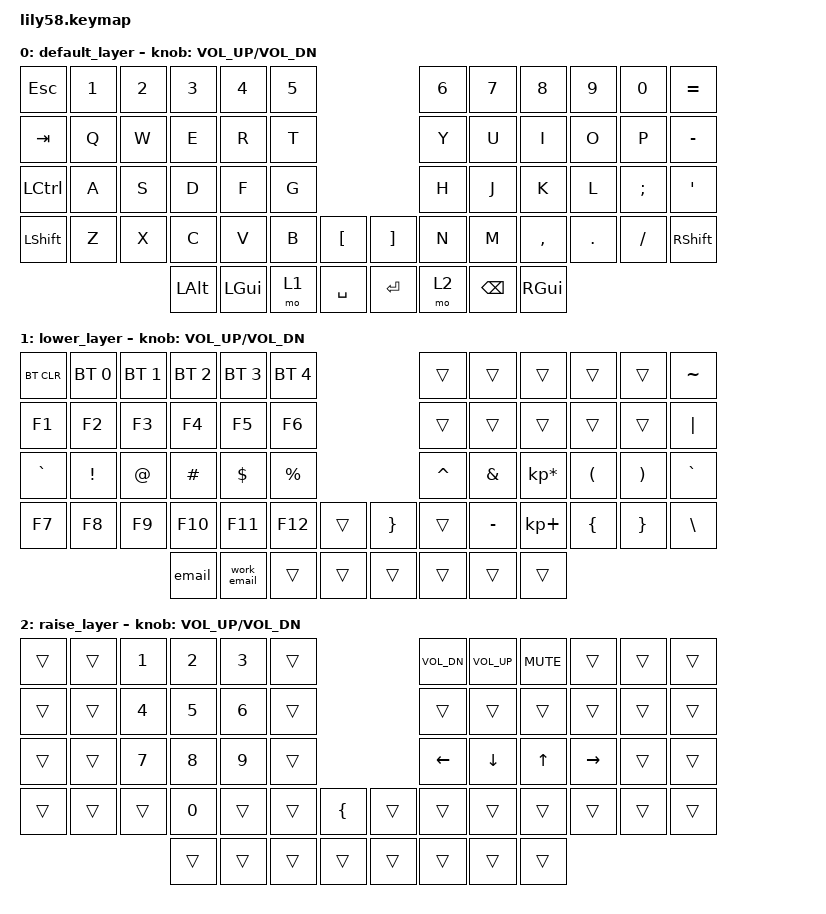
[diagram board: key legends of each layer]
/*
 * Copyright (c) 2020 The ZMK Contributors
 *
 * SPDX-License-Identifier: MIT
 */

#include <behaviors.dtsi>
#include <dt-bindings/zmk/keys.h>
#include <dt-bindings/zmk/bt.h>
#include <dt-bindings/zmk/ext_power.h>

/  { 
  macros {
    work_email: work_email {
      compatible = "zmk,behavior-macro";
      label = "mcguire-lestera@aetna.com";
      #binding-cells = <0>;
      wait-ms = <30>;
      tap-ms = <30>;
      bindings = <&kp M &kp C &kp G &kp U &kp I &kp R &kp E &kp MINUS &kp L &kp E &kp S &kp T &kp E &kp R &kp A &kp AT_SIGN &kp A &kp E &kp T &kp N &kp A &kp DOT &kp C &kp O &kp M>;
    };

    email: email {
      compatible = "zmk,behavior-macro";
      label = "aidanmcguire211@gmail.com";
      #binding-cells = <0>;
      wait-ms = <30>;
      tap-ms = <30>;
      bindings = <&kp A &kp I &kp D &kp A &kp N &kp M &kp C &kp G &kp U &kp I &kp R &kp E &kp KP_N2 &kp KP_N1 &kp KP_N1 &kp AT_SIGN &kp G &kp M &kp A &kp I &kp L &kp DOT &kp C &kp O &kp M>;
    };
  };
};

/ {
	keymap {
		compatible = "zmk,keymap";

		default_layer {
// ------------------------------------------------------------------------------------------------------------
// |  ESC  |  1  |  2  |  3   |  4   |  5   |                   |  6   |  7    |  8    |  9   |   0   |   =   |
// |  TAB  |  Q  |  W  |  E   |  R   |  T   |                   |  Y   |  U    |  I    |  O   |   P   |   -   |
// |  CTRL |  A  |  S  |  D   |  F   |  G   |                   |  H   |  J    |  K    |  L   |   ;   |   '   |
// | SHIFT |  Z  |  X  |  C   |  V   |  B   |   "["  |  |  "]"  |  N   |  M    |  ,    |  .   |   /   | SHIFT |
//                     | ALT  | GUI  | LOWER|  SPACE |  | ENTER | RAISE| BSPC  | GUI   |
			bindings = <
&kp ESC   &kp N1 &kp N2 &kp N3   &kp N4   &kp N5                     &kp N6 &kp N7   &kp N8    &kp N9  &kp N0   &kp EQUAL
&kp TAB   &kp Q  &kp W  &kp E    &kp R    &kp T                      &kp Y  &kp U    &kp I     &kp O   &kp P    &kp MINUS
&kp LCTRL &kp A  &kp S  &kp D    &kp F    &kp G                      &kp H  &kp J    &kp K     &kp L   &kp SEMI &kp SQT
&kp LSHFT &kp Z  &kp X  &kp C    &kp V    &kp B  &kp LBKT   &kp RBKT &kp N  &kp M    &kp COMMA &kp DOT &kp FSLH &kp RSHFT
                        &kp LALT &kp LGUI &mo 1  &kp SPACE  &kp RET  &mo 2  &kp BSPC &kp RGUI
			>;

			sensor-bindings = <&inc_dec_kp C_VOL_UP C_VOL_DN>;
		};

		lower_layer {
// ------------------------------------------------------------------------------------------------------------
// | BTCLR | BT1 | BT2 |  BT3 |  BT4 |  BT5 |                   |      |       |       |      |       |   ~   |
// |  F1   |  F2 |  F3 |  F4  |  F5  |  F6  |                   |      |       |       |      |       |   |   |
// |   `   |  !  |  @  |  #   |  $   |  %   |                   |  ^   |  &    |  *    |  (   |   )   |   `   |
// |   F7  |  F8 |  F9 |  F10 | F11  | F12  |        |  |   }   |      |  _    |  +    |  {   |   }   |   \   |
//                     |      |      |      |        |  |       |      |       |       |
			bindings = <
&bt BT_CLR &bt BT_SEL 0  &bt BT_SEL 1  &bt BT_SEL 2  &bt BT_SEL 3 &bt BT_SEL 4                 &trans    &trans    &trans          &trans    &trans    &kp TILDE
&kp F1     &kp F2        &kp F3        &kp F4        &kp F5       &kp F6                       &trans    &trans    &trans          &trans    &trans    &kp PIPE
&kp GRAVE  &kp EXCL      &kp AT        &kp HASH      &kp DOLLAR   &kp PRCNT                    &kp CARET &kp AMPS  &kp KP_MULTIPLY &kp LPAR  &kp RPAR  &kp GRAVE
&kp F7     &kp F8        &kp F9        &kp F10       &kp F11      &kp F12   &trans   &kp RBRC  &trans    &kp MINUS &kp KP_PLUS     &kp LBRC  &kp RBRC  &kp BSLH
                                       &email        &work_email       &trans    &trans   &trans    &trans    &trans    &trans
			>;

			sensor-bindings = <&inc_dec_kp C_VOL_UP C_VOL_DN>;
		};

		raise_layer {
// ------------------------------------------------------------------------------------------------------------
// |       |     |  1  |   2  |  3   |      |                   | VOL_DN | VOL_UP | MUTE  |      |       |       |
// |       |     |  4  |   5  |  6   |      |                   |        |        |       |      |       |       |
// |       |     |  7  |   8  |  9   |      |                   |    <-  |    v   |   ^   |  ->  |       |       |
// |       |     |     |   0  |      |      |    {   |  |       |        |        |       |      |       |       |
//                     |      |      |      |        |  |       |        |        |       |
			bindings = <
&trans &trans &kp N1  &kp N2  &kp N3  &trans                        &kp C_VOL_DN &kp C_VOL_UP &kp K_MUTE &trans    &trans    &trans
&trans &trans &kp N4  &kp N5  &kp N6  &trans                        &trans       &trans       &trans     &trans    &trans    &trans
&trans &trans &kp N7  &kp N8  &kp N9  &trans                        &kp LEFT     &kp DOWN     &kp UP     &kp RIGHT &trans    &trans
&trans &trans &trans  &kp N0  &trans &trans &kp LBRC        &trans  &trans  &trans    &trans  &trans  &trans  &trans
                       &trans &trans &trans &trans          &trans  &trans  &trans  &trans
			>;

			sensor-bindings = <&inc_dec_kp C_VOL_UP C_VOL_DN>;
		};
	};
};
